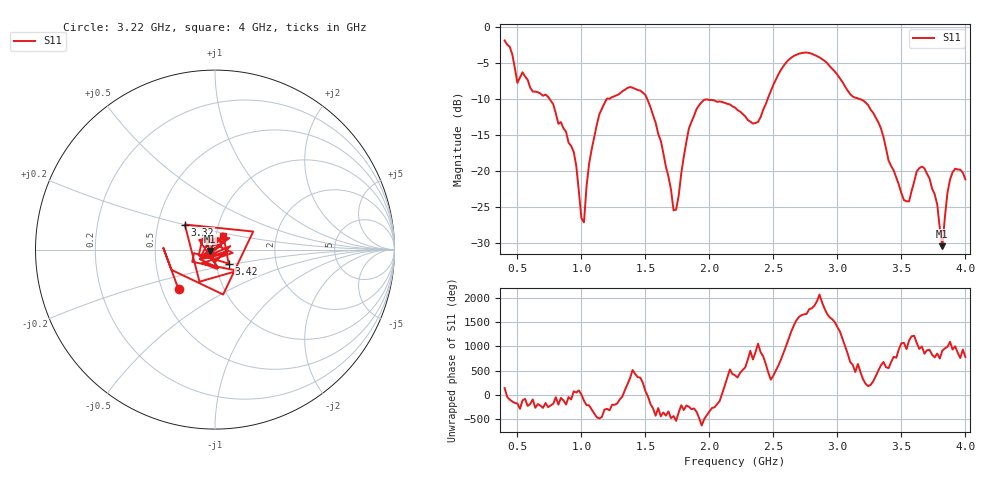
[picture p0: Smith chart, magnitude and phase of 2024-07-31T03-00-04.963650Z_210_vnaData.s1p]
!Created with skrf (http://scikit-rf.org).
# Hz S RI R 50.0
!freq ReS11 ImS11
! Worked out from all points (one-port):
!   181 points, 400 MHz to 4 GHz, reference 50 ohm
!   lowest |S11| = -30.4 dB at 3.82 GHz (marker M1), VSWR 1.06, Z = 47.1 - j0.652 ohm
!   |S11| at or under -10 dB: 753.3 MHz to 1.197 GHz (443.6 MHz wide, 45.5 % of centre); 1.515 GHz to 2.454 GHz (939.5 MHz wide, 47.3 % of centre); 3.18 GHz to end of sweep
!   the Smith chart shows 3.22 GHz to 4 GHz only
!   S11 on the Smith chart (normalised r, x): 3.22 GHz: 0.61, -0.30; 3.32 GHz: 0.69, +0.20; 3.42 GHz: 1.15, -0.18; 4 GHz: 1.08, +0.16
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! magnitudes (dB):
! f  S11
! 400 MHz  -1.8
! 500 MHz  -7.7
! 860 MHz  -14.1
! 940 MHz  -17.3
! 1.02 GHz  -27.1
! 1.06 GHz  -19.0
! 1.14 GHz  -12.1
! 1.3 GHz  -9.2
! 1.5 GHz  -9.4
! 1.62 GHz  -15.7
! 1.72 GHz  -25.4
! 1.76 GHz  -23.4
! 1.84 GHz  -14.0
! 1.9 GHz  -11.4
! 2.2 GHz  -11.1
! 2.38 GHz  -13.1
! 2.66 GHz  -4.0
! 3.1 GHz  -9.3
! 3.22 GHz  -10.4
! 3.32 GHz  -13.2
! 3.42 GHz  -19.3
! 3.56 GHz  -24.2
! 3.68 GHz  -19.6
! 3.78 GHz  -24.6
! 3.82 GHz  -30.4
! 3.86 GHz  -23.0
! 3.9 GHz  -20.1
! 4 GHz  -21.1
